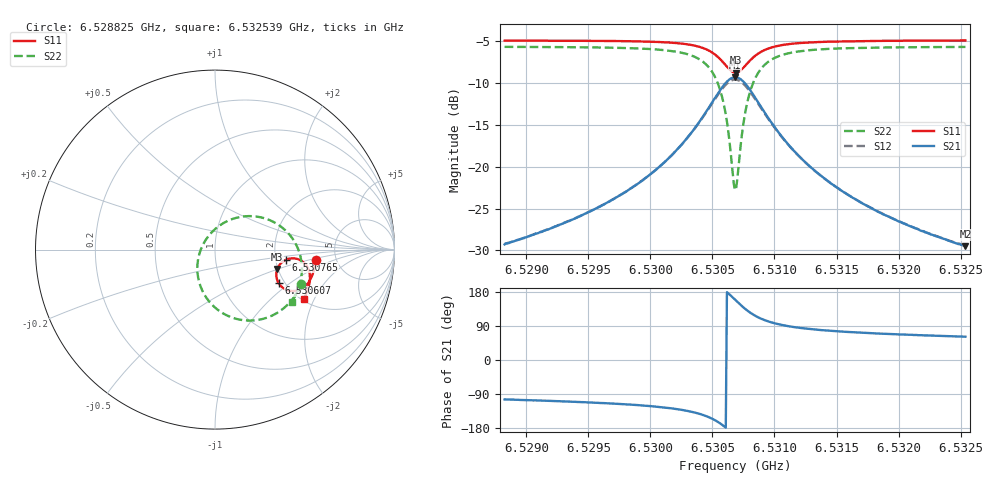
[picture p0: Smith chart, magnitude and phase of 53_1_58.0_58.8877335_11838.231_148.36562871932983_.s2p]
#  HZ  S  RI  R  50.00
! Rohde & Schwarz Vector Network Analyzer
! Rohde-Schwarz,ZNB20-2Port,1311601062101988,3.16
! Created: UTC 3/21/2024, 12:52:40 AM
! freq[Hz]  re:S11  im:S11  re:S21  im:S21  re:S12  im:S12  re:S22  im:S22
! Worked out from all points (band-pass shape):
!   401 points, 6.528825 GHz to 6.532539 GHz, reference 50 ohm
!   highest |S21| = -9.35 dB at 6.530682 GHz (marker M1); lowest = -29.5 dB at 6.532539 GHz (marker M2)
!   |S21| within 3 dB of the highest: 6.530497 GHz to 6.530869 GHz (371.2 kHz wide, 0.00568 % of centre)
!   lowest |S11| = -8.8 dB at 6.530691 GHz (marker M3), VSWR 2.14, Z = 99.2 - j24.5 ohm
!   |S11| at or under -10 dB: nowhere
!   |S22| runs from -22.8 to -5.7 dB; largest |S21 - S12| = 0.015
!   S11 on the Smith chart (normalised r, x): 6.528825 GHz: 3.47, -0.59; 6.530607 GHz: 1.86, -0.83; 6.530765 GHz: 2.29, -0.30; 6.532539 GHz: 2.06, -1.66
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6.5288247e9  0.5607 -0.0583  -0.00827 -0.0333  -0.00912 -0.0334  0.4818 -0.1896
6.5294468e9  0.5513 -0.1122  -0.0186 -0.0478  -0.0198 -0.0473  0.4491 -0.2516
6.5297904e9  0.5405 -0.1461  -0.0315 -0.0625  -0.0332 -0.0617  0.415 -0.2957
6.5300689e9  0.5236 -0.1791  -0.0553 -0.0825  -0.0576 -0.0808  0.3615 -0.3428
6.5302918e9  0.4937 -0.2112  -0.1017 -0.1058  -0.1051 -0.1019  0.2676 -0.386
6.5304496e9  0.4445 -0.2307  -0.1805 -0.1123  -0.183 -0.1043  0.1231 -0.3871
6.5305425e9  0.3935 -0.2218  -0.2603 -0.0791  -0.2586 -0.0675  -0.00867 -0.3146
6.5305796e9  0.3704 -0.2061  -0.2946 -0.045  -0.2896 -0.0327  -0.0596 -0.2499
6.5306075e9  0.3553 -0.1876  -0.3157 -0.00851  -0.3077 0.00304  -0.0874 -0.1845
6.5306353e9  0.3448 -0.1634  -0.3282 0.0366  -0.3173 0.0463  -0.0986 -0.1073
6.5306632e9  0.3416 -0.1356  -0.3278 0.087  -0.315 0.0934  -0.0876 -0.025
6.5306818e9  0.3445 -0.1165  -0.319 0.1203  -0.3058 0.1245  -0.0669 0.028
6.5306911e9  0.3475 -0.1072  -0.3123 0.1363  -0.299 0.1392  -0.0525 0.0528
6.5307653e9  0.3965 -0.0559  -0.2185 0.2227  -0.2097 0.2189  0.1174 0.1768
6.5307932e9  0.419 -0.0497  -0.1786 0.233  -0.1719 0.2286  0.1856 0.1866
6.5308303e9  0.4462 -0.0494  -0.1316 0.2328  -0.1272 0.2287  0.2644 0.1777
6.5309232e9  0.4919 -0.0698  -0.0537 0.2018  -0.0519 0.1992  0.3914 0.1081
6.5310625e9  0.5199 -0.1075  -0.00601 0.1496  -0.0047 0.1489  0.4634 0.00248
6.5313039e9  0.5291 -0.1543  0.015 0.0963  0.0162 0.0959  0.4842 -0.1084
6.5315732e9  0.5255 -0.1896  0.0187 0.0668  0.0197 0.0665  0.4765 -0.1763
6.531926e9  0.5158 -0.2247  0.0183 0.0467  0.0191 0.0463  0.459 -0.2305
6.5325389e9  0.4945 -0.2739  0.016 0.0295  0.0167 0.0292  0.4273 -0.2912
